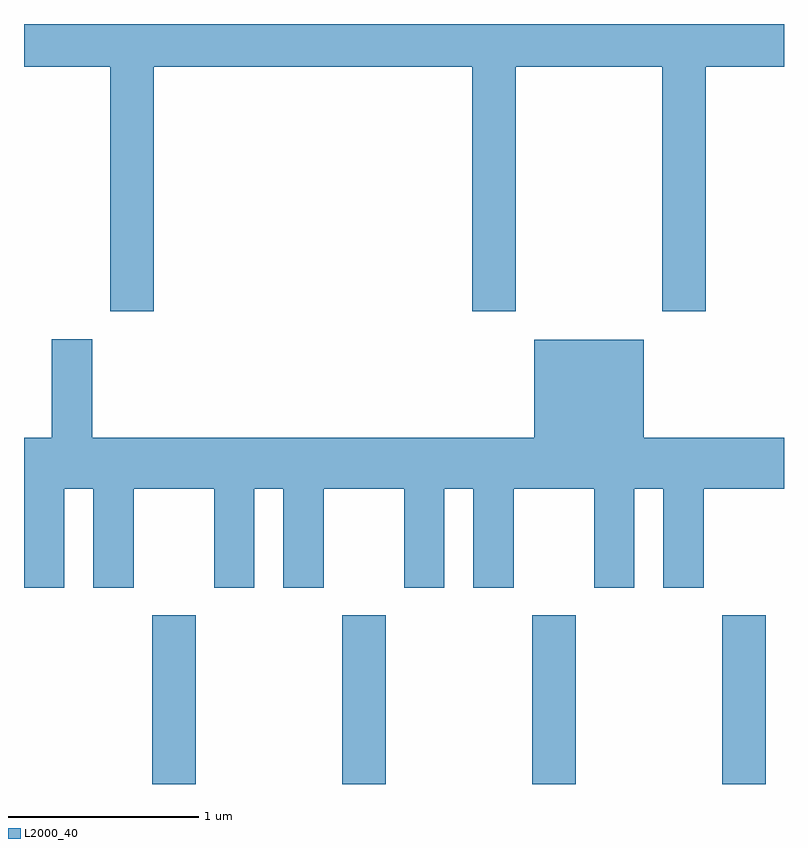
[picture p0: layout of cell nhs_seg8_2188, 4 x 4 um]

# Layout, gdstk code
import gdstk
lib = gdstk.Library(unit=1e-6, precision=1e-09)
def R(c, l, rs):  # rectangles x0, y0, x1, y1
    for r in rs: c.add(gdstk.rectangle(r[:2], r[2:], *l))
def A(c, l, x, y, w, h, nx, ny, dx, dy):  # array of equal rectangles
    R(c, l, [(x+i*dx, y+j*dy, x+i*dx+w, y+j*dy+h) for i in range(nx) for j in range(ny)])
def P(c, l, *ps):  # polygons
    for p in ps: c.add(gdstk.Polygon(p, *l))
L2000_40 = (2000, 40)

nhs_seg8_2188 = lib.new_cell('nhs_seg8_2188')
A(nhs_seg8_2188, L2000_40, 250.286, 1910.342, 0.228, 0.887, 4, 1, 1, 0)
P(nhs_seg8_2188, L2000_40, [(250.294,1914.116),(251.971,1914.116),(251.971,1912.831),(252.199,1912.831),(252.199,1914.116),(252.971,1914.116),(252.971,1912.831),(253.199,1912.831),(253.199,1914.116),(253.611,1914.116),(253.611,1914.342),(249.611,1914.342),(249.611,1914.116),(250.066,1914.116),(250.066,1912.831),(250.294,1912.831)],
  [(249.824,1911.896),(249.976,1911.896),(249.976,1911.376),(250.189,1911.376),(250.189,1911.896),(250.611,1911.896),(250.611,1911.376),(250.824,1911.376),(250.824,1911.896),(250.976,1911.896),(250.976,1911.376),(251.189,1911.376),(251.189,1911.896),(251.611,1911.896),(251.611,1911.376),(251.824,1911.376),(251.824,1911.896),(251.976,1911.896),(251.976,1911.376),(252.189,1911.376),(252.189,1911.896),(252.611,1911.896),(252.611,1911.376),(252.824,1911.376),(252.824,1911.896),(252.976,1911.896),(252.976,1911.376),(253.189,1911.376),(253.189,1911.896),(253.611,1911.896),(253.611,1912.164),(252.874,1912.164),(252.874,1912.679),(252.296,1912.679),(252.296,1912.164),(249.969,1912.164),(249.969,1912.684),(249.756,1912.684),(249.756,1912.164),(249.611,1912.164),(249.611,1911.376),(249.824,1911.376)])

lib.write_gds('nhs_seg8_2188.gds')
